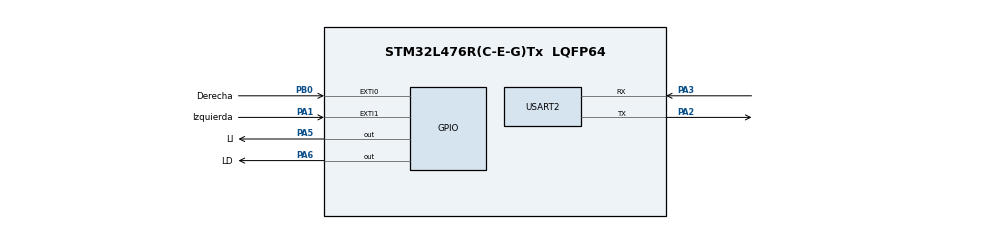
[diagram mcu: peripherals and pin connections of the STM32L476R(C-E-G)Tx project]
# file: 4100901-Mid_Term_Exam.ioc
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Mcu.Family=STM32L4
Mcu.Name=STM32L476R(C-E-G)Tx
Mcu.Package=LQFP64
NVIC.EXTI0_IRQn=true\:0\:0\:false\:false\:true\:true\:true\:true
NVIC.EXTI1_IRQn=true\:0\:0\:false\:false\:true\:true\:true\:true
NVIC.PriorityGroup=NVIC_PRIORITYGROUP_4
NVIC.USART2_IRQn=true\:0\:0\:false\:false\:true\:true\:true\:true
PA1.GPIO_Label=Izquierda
PA1.Signal=GPXTI1
PA2.Mode=Asynchronous
PA2.Signal=USART2_TX
PA3.Mode=Asynchronous
PA3.Signal=USART2_RX
PA5.GPIO_Label=LI
PA5.PinState=GPIO_PIN_SET
PA5.Signal=GPIO_Output
PA6.GPIO_Label=LD
PA6.PinState=GPIO_PIN_SET
PA6.Signal=GPIO_Output
PB0.GPIO_Label=Derecha
PB0.Signal=GPXTI0
ProjectManager.HeapSize=0x200
ProjectManager.StackSize=0x400
ProjectManager.TargetToolchain=STM32CubeIDE
RCC.HSE_VALUE=8000000
RCC.HSI_VALUE=16000000
RCC.LSE_VALUE=32768
RCC.MSI_VALUE=4000000
RCC.VCOOutputFreq_Value=32000000
USART2.VirtualMode-Asynchronous=VM_ASYNC
board=custom

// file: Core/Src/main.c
/* USER CODE BEGIN Header */
/**
  ******************************************************************************
  * @file           : main.c
  * @brief          : Main program body
  ******************************************************************************
  * @attention
  *
  * Copyright (c) 2024 STMicroelectronics.
  * All rights reserved.
  *
  * This software is licensed under terms that can be found in the LICENSE file
  * in the root directory of this software component.
  * If no LICENSE file comes with this software, it is provided AS-IS.
  *
  ******************************************************************************
  */
/* USER CODE END Header */
#include "main.h"
#include "usart.h"
#include "gpio.h"

void SystemClock_Config(void);
/* USER CODE BEGIN PFP */

//Variables: Se definen las variables a utilizar en la aplicacion.
//tiempo: se toma una copia del reloj del sistema para usos practicos y definir ventanas de lectura
uint32_t tiempo_parpadeo=500;
uint8_t estado=0;
static uint32_t tiempo=HAL_GetTick;
uint8_t contador=0;
/* USER CODE END PFP */

/* USER CODE BEGIN 0 */
void HAL_GPIO_EXTI_Callback(uint16_t GPIO_Pin)
{
// Se definen las interrupciones y lo que debe realizar el sistema al tenerlas,como definir valores a las variables anteriormente definidas
// Utilizamos 2 botones Izquierda-Derecha,a los cuales les asignamos unas funcionalidades en caso,
//de que ocurran, del mismo modo se transmite un mensaje a travez de la UART que indica que boton se presiono
	 if(GPIO_Pin==Izquierda_Pin)
		  {HAL_UART_Transmit(&huart2, "d_izquierda\r\n", 13, 10);
		  HAL_GPIO_WritePin(LD_GPIO_Port, LI_Pin, 0);
		  estado=1;
		  contador =3;
		 }
	 if(GPIO_Pin==Derecha_Pin)
		   {HAL_UART_Transmit(&huart2, "d_derecha\r\n", 13, 10);
		    HAL_GPIO_WritePin(LD_GPIO_Port, LD_Pin, 0);
		   estado=2;
		   contador =3;
		   }

//Filtro para evitar los rebotes al momento de presionar los botones y que el sistema no los tome
// En las mismas lineas de codigo de implementa el que si se presiona 2 veces en menos de 500 ms,
//la luz parpadee indefinidamente.

	 if (GPIO_Pin == Izquierda_Pin) {

		if ((HAL_GetTick() < (tiempo + 500))&&(HAL_GetTick() > (tiempo + 150))) { //se define una ventana de 150 ms donde el sistema no lea el boton
					contador = 0xFFFFFF; // contador con un numero exageradamente grande para el parpadeo
				} else {
					contador = 5;
				}
				tiempo = HAL_GetTick();
			}
	if (GPIO_Pin == Derecha_Pin) {
				if ((HAL_GetTick() < (tiempo + 500))&&(HAL_GetTick() > (tiempo + 150))) { //
					contador = 0xFFFFFF;
				} else {
					contador = 5;
				}
				tiempo = HAL_GetTick();

			}
}

/* USER CODE END 0 */

int main(void)
{

  /* MCU Configuration--------------------------------------------------------*/

  /* Reset of all peripherals, Initializes the Flash interface and the Systick. */
  HAL_Init();

  /* Configure the system clock */
  SystemClock_Config();

  /* Initialize all configured peripherals */
  MX_GPIO_Init();
  MX_USART2_UART_Init();

  /* Infinite loop */
  while (1)
  {

	//Al ocurrir alguna de las 2 posiboles interrupciones en el sistema ,el sistema nos redirige a 2 posibles estados a aplicar,
	//donde si se presiona el boton Derecha(S3) entraremos al estado 1 o el boton Izquierda(S1) ,donde en cualquiera de los 2
	// se realiza un bucle para que las luces cambien su estado el numero de veces que la variable contador nos lo indique,
	// del mismo modo aseguramos el correcto funcionamiento del codigo apagando los otros componentes que no se utilizaran en ese momento

	  if (estado==2){//estado correspondiente a presionar el boton Derecha(s1)
	  	   		if((HAL_GetTick()-tiempo)>tiempo_parpadeo){
	  	   			HAL_GPIO_WritePin(LI_GPIO_Port, LI_Pin, 1);//Apagala luz izquierda
	  	   			HAL_UART_Transmit(&huart2, "d_derecha\r\n", 13, 10);//transmite la informacion de que se esta girando a la derecha
	  	   			HAL_GPIO_TogglePin(LD_GPIO_Port, LD_Pin);//cambia el estado de la luz derecha
	  	   			tiempo=HAL_GetTick();
	  	   			contador--;
	  	   			if ((contador==0)){
	  	   				estado=0;
	  	   			 HAL_GPIO_WritePin(LD_GPIO_Port, LD_Pin, 1);

	  	   			}

	  	   		}
	  	   		}

	  	if (estado==1){//estado correspondiente a presionar el boton Izquierda(s3)
	  		if((HAL_GetTick()-tiempo)>tiempo_parpadeo){
	  			HAL_UART_Transmit(&huart2, "d_izquierda\r\n", 13, 10);//transmite la informacion de que se esta girando a la izquierda
	  			HAL_GPIO_WritePin(LD_GPIO_Port, LD_Pin, 1);//Apagala luz derecha
	  			HAL_GPIO_TogglePin(LI_GPIO_Port, LI_Pin);//cambia el estado de la luz derecha
	  			tiempo=HAL_GetTick();
	  			contador--;
	  			if ((contador==0)){
	  				estado=0;
	  				  HAL_GPIO_WritePin(GPIOA, LI_Pin, 1);

	  			}

	  		 }
	  	   }
  }
}

void SystemClock_Config(void)
{
  RCC_OscInitTypeDef RCC_OscInitStruct = {0};
  RCC_ClkInitTypeDef RCC_ClkInitStruct = {0};

  /** Configure the main internal regulator output voltage
  */
  if (HAL_PWREx_ControlVoltageScaling(PWR_REGULATOR_VOLTAGE_SCALE1) != HAL_OK)
  {
    Error_Handler();
  }

  /** Initializes the RCC Oscillators according to the specified parameters
  * in the RCC_OscInitTypeDef structure.
  */
  RCC_OscInitStruct.OscillatorType = RCC_OSCILLATORTYPE_MSI;
  RCC_OscInitStruct.MSIState = RCC_MSI_ON;
  RCC_OscInitStruct.MSICalibrationValue = 0;
  RCC_OscInitStruct.MSIClockRange = RCC_MSIRANGE_6;
  RCC_OscInitStruct.PLL.PLLState = RCC_PLL_NONE;
  if (HAL_RCC_OscConfig(&RCC_OscInitStruct) != HAL_OK)
  {
    Error_Handler();
  }

  /** Initializes the CPU, AHB and APB buses clocks
  */
  RCC_ClkInitStruct.ClockType = RCC_CLOCKTYPE_HCLK|RCC_CLOCKTYPE_SYSCLK
                              |RCC_CLOCKTYPE_PCLK1|RCC_CLOCKTYPE_PCLK2;
  RCC_ClkInitStruct.SYSCLKSource = RCC_SYSCLKSOURCE_MSI;
  RCC_ClkInitStruct.AHBCLKDivider = RCC_SYSCLK_DIV1;
  RCC_ClkInitStruct.APB1CLKDivider = RCC_HCLK_DIV1;
  RCC_ClkInitStruct.APB2CLKDivider = RCC_HCLK_DIV1;

  if (HAL_RCC_ClockConfig(&RCC_ClkInitStruct, FLASH_LATENCY_0) != HAL_OK)
  {
    Error_Handler();
  }
}

void Error_Handler(void)
{
  __disable_irq();
  while (1)
  {
  }
}
